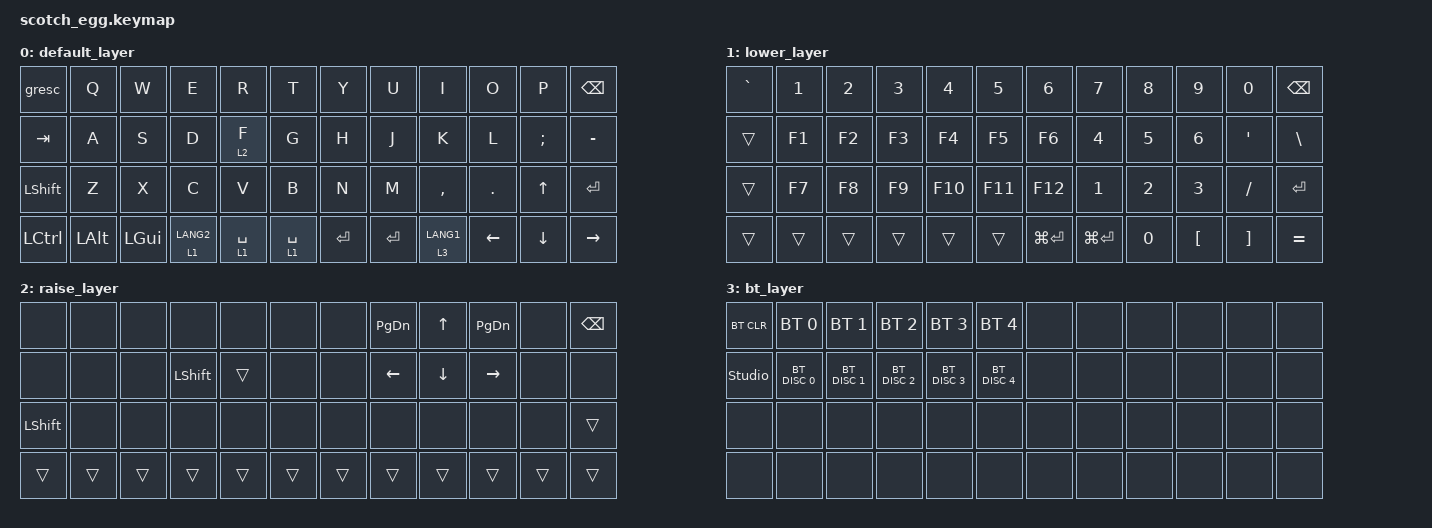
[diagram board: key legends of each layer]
#include <behaviors.dtsi>
#include <dt-bindings/zmk/bt.h>
#include <dt-bindings/zmk/keys.h>

/ {
    keymap {
        compatible = "zmk,keymap";

        default_layer {
            bindings = <
&gresc     &kp Q     &kp W     &kp E        &kp R        &kp T        &kp Y    &kp U    &kp I        &kp O     &kp P     &kp BSPC
&kp TAB    &kp A     &kp S     &kp D        &lt 2 F      &kp G        &kp H    &kp J    &kp K        &kp L     &kp SEMI  &kp MINUS
&kp LSHFT  &kp Z     &kp X     &kp C        &kp V        &kp B        &kp N    &kp M    &kp COMMA    &kp DOT   &kp UP    &kp RET
&kp LCTRL  &kp LALT  &kp LGUI  &lt 1 LANG2  &lt 1 SPACE  &lt 1 SPACE  &kp RET  &kp RET  &lt 3 LANG1  &kp LEFT  &kp DOWN  &kp RIGHT
            >;
        };

        lower_layer {
            bindings = <
&kp GRAVE  &kp N1  &kp N2  &kp N3  &kp N4   &kp N5   &kp N6       &kp N7       &kp N8  &kp N9    &kp N0     &kp BSPC
&trans     &kp F1  &kp F2  &kp F3  &kp F4   &kp F5   &kp F6       &kp N4       &kp N5  &kp N6    &kp APOS   &kp BSLH
&trans     &kp F7  &kp F8  &kp F9  &kp F10  &kp F11  &kp F12      &kp N1       &kp N2  &kp N3    &kp FSLH   &kp RET
&trans     &trans  &trans  &trans  &trans   &trans   &kp LG(RET)  &kp LG(RET)  &kp N0  &kp LBKT  &kp RBKT   &kp EQUAL
            >;
        };

        raise_layer {
            bindings = <
&none      &none   &none   &none      &none   &none   &none   &kp PG_DN  &kp UP    &kp PG_DN  &none   &kp BSPC
&none      &none   &none   &kp LSHFT  &trans  &none   &none   &kp LEFT   &kp DOWN  &kp RIGHT  &none   &none
&kp LSHFT  &none   &none   &none      &none   &none   &none   &none      &none     &none      &none   &trans
&trans     &trans  &trans  &trans     &trans  &trans  &trans  &trans     &trans    &trans     &trans  &trans
            >;
        };

        bt_layer {
            bindings = <
&bt BT_CLR      &bt BT_SEL 0   &bt BT_SEL 1   &bt BT_SEL 2   &bt BT_SEL 3   &bt BT_SEL 4   &none  &none  &none  &none  &none  &none
&studio_unlock  &bt BT_DISC 0  &bt BT_DISC 1  &bt BT_DISC 2  &bt BT_DISC 3  &bt BT_DISC 4  &none  &none  &none  &none  &none  &none
&none           &none          &none          &none          &none          &none          &none  &none  &none  &none  &none  &none
&none           &none          &none          &none          &none          &none          &none  &none  &none  &none  &none  &none
            >;
        };
    };
};
